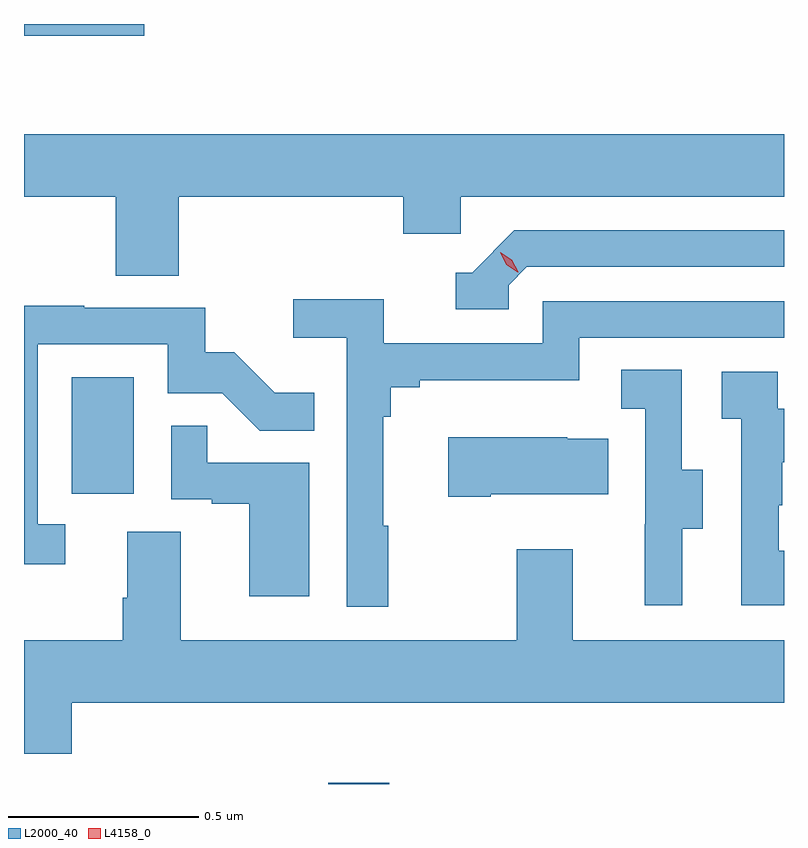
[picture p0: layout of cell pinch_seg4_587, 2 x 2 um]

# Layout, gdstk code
import gdstk
lib = gdstk.Library(unit=1e-6, precision=1e-09)
def R(c, l, rs):  # rectangles x0, y0, x1, y1
    for r in rs: c.add(gdstk.rectangle(r[:2], r[2:], *l))
def P(c, l, *ps):  # polygons
    for p in ps: c.add(gdstk.Polygon(p, *l))
L2000_40 = (2000, 40)
L4158_0 = (4158, 0)

pinch_seg4_587 = lib.new_cell('pinch_seg4_587')
R(pinch_seg4_587, L2000_40, [(1070.423,787.282,1070.584,787.285), (1069.748,788.046,1069.912,788.353), (1069.623,789.251,1069.939,789.282)])
P(pinch_seg4_587, L2000_40, [(1070.03,788.828),(1070.621,788.828),(1070.621,788.73),(1070.772,788.73),(1070.772,788.828),(1071.623,788.828),(1071.623,788.992),(1069.623,788.992),(1069.623,788.828),(1069.865,788.828),(1069.865,788.62),(1070.03,788.62)],
  [(1070.898,788.595),(1070.946,788.643),(1071.623,788.643),(1071.623,788.739),(1070.913,788.739),(1070.802,788.628),(1070.759,788.628),(1070.759,788.532),(1070.898,788.532)],
  [(1070.581,787.961),(1070.569,787.961),(1070.569,788.249),(1070.588,788.249),(1070.588,788.326),(1070.665,788.326),(1070.665,788.345),(1071.084,788.345),(1071.084,788.457),(1071.623,788.457),(1071.623,788.553),(1070.988,788.553),(1070.988,788.442),(1070.57,788.442),(1070.57,788.558),(1070.331,788.558),(1070.331,788.456),(1070.472,788.456),(1070.472,787.749),(1070.581,787.749)],
  [(1069.732,787.965),(1069.659,787.965),(1069.659,788.439),(1070.001,788.439),(1070.001,788.31),(1070.145,788.31),(1070.243,788.212),(1070.387,788.212),(1070.387,788.311),(1070.283,788.311),(1070.176,788.418),(1070.1,788.418),(1070.1,788.535),(1069.781,788.535),(1069.781,788.54),(1069.623,788.54),(1069.623,787.86),(1069.732,787.86)],
  [(1071.355,787.954),(1071.409,787.954),(1071.409,788.109),(1071.354,788.109),(1071.354,788.372),(1071.195,788.372),(1071.195,788.269),(1071.258,788.269),(1071.258,787.965),(1071.257,787.965),(1071.257,787.752),(1071.355,787.752)],
  [(1071.623,787.896),(1071.609,787.896),(1071.609,788.015),(1071.619,788.015),(1071.619,788.129),(1071.623,788.129),(1071.623,788.269),(1071.606,788.269),(1071.606,788.367),(1071.459,788.367),(1071.459,788.243),(1071.51,788.243),(1071.51,787.752),(1071.623,787.752)],
  [(1070.374,788.127),(1070.105,788.127),(1070.105,788.225),(1070.01,788.225),(1070.01,788.031),(1070.117,788.031),(1070.117,788.019),(1070.216,788.019),(1070.216,787.776),(1070.374,787.776)],
  [(1070.851,788.045),(1071.161,788.045),(1071.161,788.191),(1071.053,788.191),(1071.053,788.194),(1070.739,788.194),(1070.739,788.038),(1070.851,788.038)],
  [(1069.748,787.496),(1071.623,787.496),(1071.623,787.66),(1071.067,787.66),(1071.067,787.9),(1070.92,787.9),(1070.92,787.66),(1070.035,787.66),(1070.035,787.946),(1069.895,787.946),(1069.895,787.772),(1069.883,787.772),(1069.883,787.66),(1069.623,787.66),(1069.623,787.361),(1069.748,787.361)])
P(pinch_seg4_587, L4158_0, [(1070.922,788.629),(1070.892,788.649),(1070.876,788.682),(1070.876,788.682),(1070.876,788.682),(1070.907,788.662),(1070.923,788.63),(1070.923,788.629)])

lib.write_gds('pinch_seg4_587.gds')
